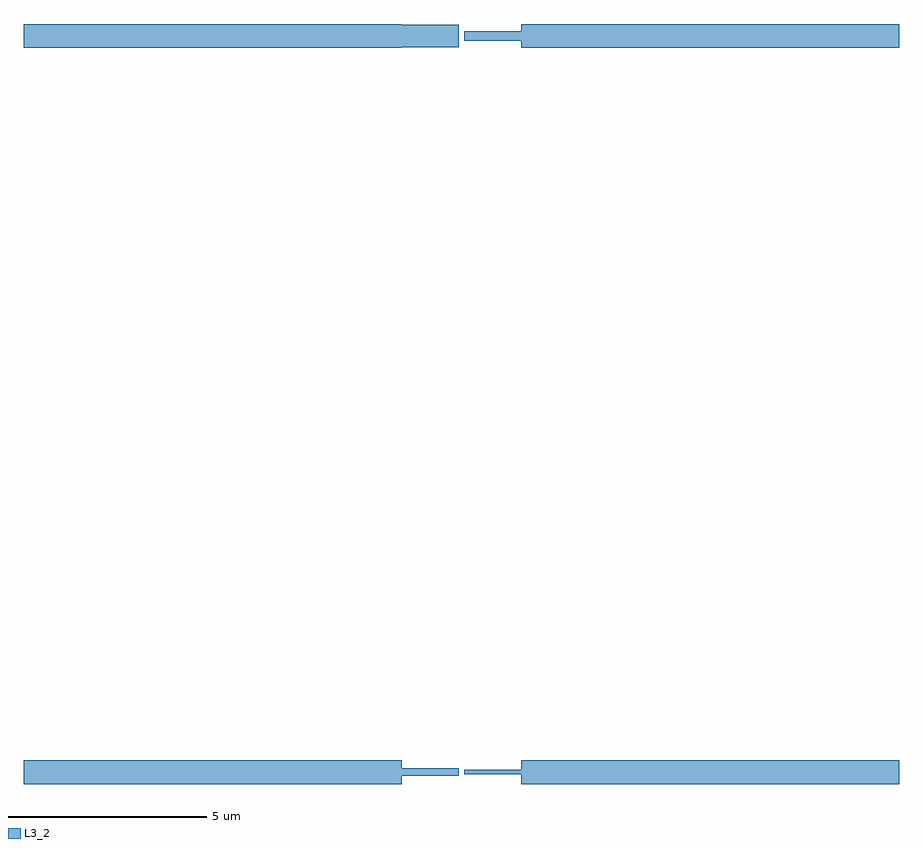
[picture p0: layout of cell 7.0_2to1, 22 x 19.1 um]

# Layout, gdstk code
import gdstk
lib = gdstk.Library(unit=1e-6, precision=1e-09)
def R(c, l, rs):  # rectangles x0, y0, x1, y1
    for r in rs: c.add(gdstk.rectangle(r[:2], r[2:], *l))
L3_2 = (3, 2)

c_7_0_2to1 = lib.new_cell('7.0_2to1')
R(c_7_0_2to1, L3_2, [(-11,-9.55,-1.5,-8.95), (1.5,-9.55,11,-8.95), (-11,8.95,-1.5,9.55), (1.5,8.95,11,9.55)])
c_7_0_2to1.add(gdstk.FlexPath([(1.5,-9.25),(0.065,-9.25)], 0.12, ends="flush", simple_path=True, layer=3, datatype=2))  # L3_2
c_7_0_2to1.add(gdstk.FlexPath([(-1.5,-9.25),(-0.065,-9.25)], 0.18, ends="flush", simple_path=True, layer=3, datatype=2))  # L3_2
c_7_0_2to1.add(gdstk.FlexPath([(-1.5,9.25),(-0.065,9.25)], 0.56, ends="flush", simple_path=True, layer=3, datatype=2))  # L3_2
c_7_0_2to1.add(gdstk.FlexPath([(1.5,9.25),(0.065,9.25)], 0.24, ends="flush", simple_path=True, layer=3, datatype=2))  # L3_2

lib.write_gds('7.0_2to1.gds')
